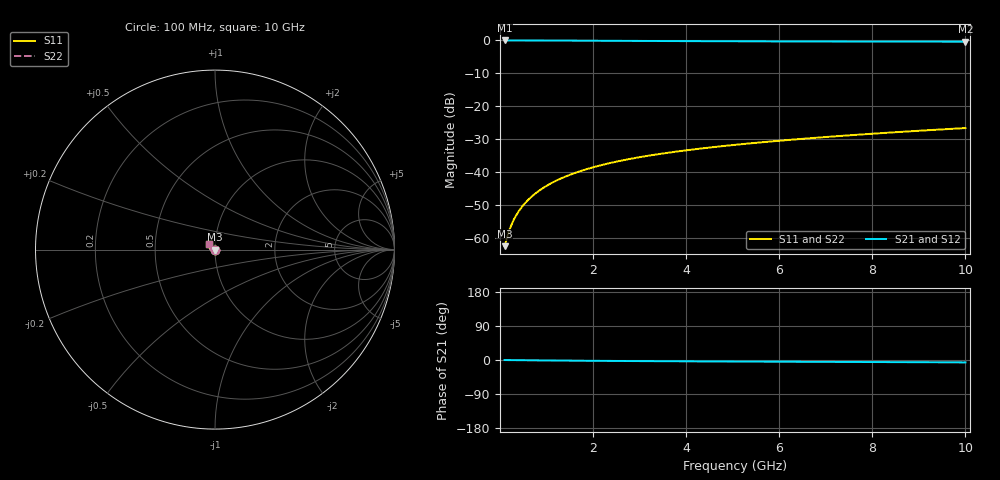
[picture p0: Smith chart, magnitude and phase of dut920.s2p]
! Touchstone file exported from HFSS 2024.1.0
!  File:  C:/UserFiles/LocalFiles/RDL_TSV_Batchsim/temp_TSV1_920_1779946094.aedt
!  Generated:  01:36:00 PM May 28, 2026
!  Design:  TSV1
!  Project:  temp_TSV1_920_1779946094
!  Setup:  Setup1
!  Solution:  Sweep
! Variables:
!  dtsv = 5.93um
!  hbump = 3um
!  htsv = 92.49um
!  lrdl = 252.1521522um
!  p = 40
!  p1 = 56.07um
!  t = 500um
!  trdl = 3um
!  wrdl = 24.89489489um
# GHz S MA R 50.000000
! Terminal data exported
! Port[1] = TSV22_T1
! Port[2] = TSV22_T2
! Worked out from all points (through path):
!   100 points, 100 MHz to 10 GHz, reference 50 ohm
!   highest |S21| = 0.00 dB at 100 MHz (marker M1); lowest = -0.4 dB at 10 GHz (marker M2)
!   lowest |S11| = -62.3 dB at 100 MHz (marker M3), VSWR 1.00, Z = 50 - j0.0644 ohm
!   |S11| at or under -10 dB: start of sweep to end of sweep
!   |S22| runs from -62.3 to -26.5 dB; largest |S21 - S12| = 9.1e-15
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0.1  0.0007649 -57.3  0.9995 -0.1  0.9995 -0.1  0.0007649 -57.3
! Gamma 0 0 0 0
! Port Impedance 50 0 50 0
0.2  0.00134 -75.6  0.9994 -0.2  0.9994 -0.2  0.00134 -75.6
0.3  0.001951 -84.4  0.9993 -0.4  0.9993 -0.4  0.001951 -84.4
0.4  0.002571 -90.1  0.9991 -0.5  0.9991 -0.5  0.002571 -90.1
0.5  0.003193 -94.6  0.9988 -0.6  0.9988 -0.6  0.003193 -94.6
0.6  0.003813 -98.4  0.9985 -0.7  0.9985 -0.7  0.003813 -98.4
0.7  0.004432 -101.8  0.9982 -0.8  0.9982 -0.8  0.004432 -101.8
0.8  0.005046 -104.9  0.9978 -0.9  0.9978 -0.9  0.005046 -104.9
0.9  0.005656 -107.9  0.9973 -1.0  0.9973 -1.0  0.005656 -107.9
1.1  0.006861 -113.5  0.9963 -1.3  0.9963 -1.3  0.006861 -113.5
1.4  0.008624 -121.3  0.9945 -1.6  0.9945 -1.6  0.008624 -121.3
1.6  0.009766 -126.2  0.9932 -1.8  0.9932 -1.8  0.009766 -126.2
1.8  0.01088 -130.8  0.9919 -1.9  0.9919 -1.9  0.01088 -130.8
2.1  0.0125 -137.5  0.9897 -2.2  0.9897 -2.2  0.0125 -137.5
2.5  0.01458 -145.7  0.9868 -2.5  0.9868 -2.5  0.01458 -145.7
2.9  0.01656 -153.4  0.9839 -2.8  0.9839 -2.8  0.01656 -153.4
3.4  0.01892 -162.0  0.9805 -3.1  0.9805 -3.1  0.01892 -162.0
4.2  0.02253 -174.1  0.9757 -3.6  0.9757 -3.6  0.02253 -174.1
5.1  0.02642 174.5  0.9712 -4.0  0.9712 -4.0  0.02642 174.5
6.7  0.03317 158.7  0.9654 -4.8  0.9654 -4.8  0.03317 158.7
8.4  0.0403 146.2  0.9612 -5.6  0.9612 -5.6  0.04031 146.2
10  0.04705 137.2  0.9584 -6.3  0.9584 -6.3  0.04705 137.2
